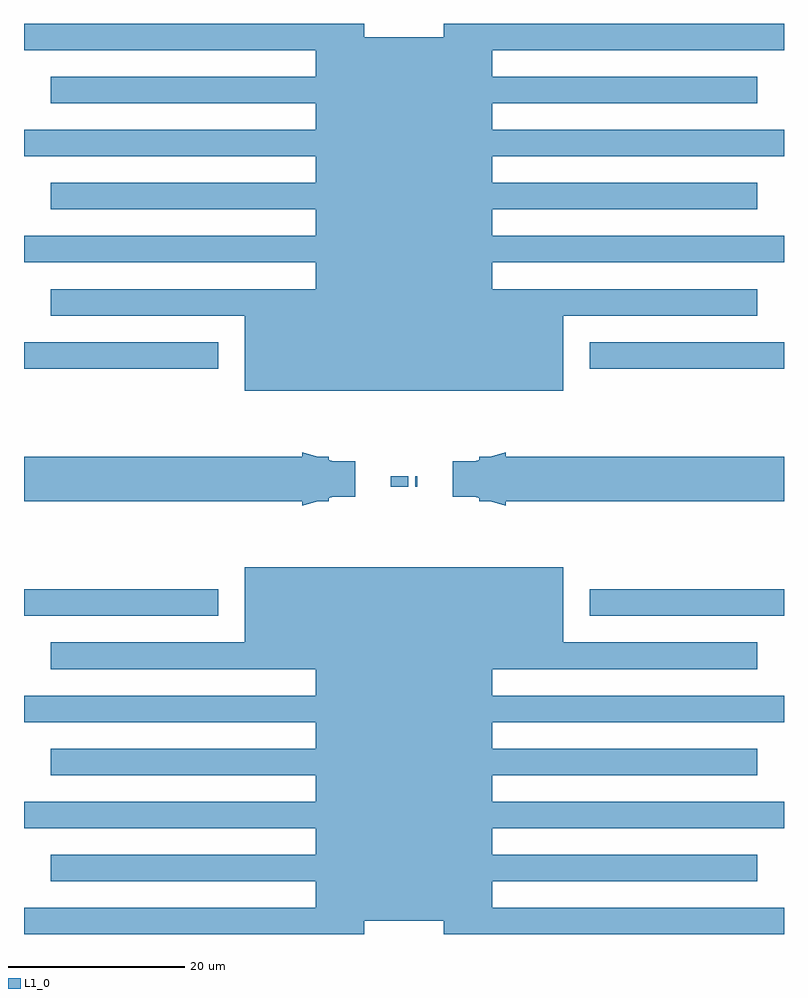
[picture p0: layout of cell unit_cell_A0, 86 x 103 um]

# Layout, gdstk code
from math import pi, radians
import gdstk
lib = gdstk.Library(unit=1e-6, precision=1e-09)
def R(c, l, rs):  # rectangles x0, y0, x1, y1
    for r in rs: c.add(gdstk.rectangle(r[:2], r[2:], *l))
def P(c, l, *ps):  # polygons
    for p in ps: c.add(gdstk.Polygon(p, *l))
L1_0 = (1, 0)

unnamed_98 = lib.new_cell('Unnamed_98')
P(unnamed_98, L1_0, [(38.5,0),(38.5,4.5),(0,4.5),(0,7.5),(38.5,7.5),(38.5,16.5),(0,16.5),(0,19.5),(38.5,19.5),(38.5,28.5),(0,28.5),(0,31.5),(22,31.5),(22,40),(50,40),(50,0)])

straight_l38p5_n2_csxs_e = lib.new_cell('straight_L38p5_N2_CSxs_e9659eb0')
R(straight_l38p5_n2_csxs_e, L1_0, [(0,-1.5,38.5,1.5)])

straight_array_n3_s9_l3_ = lib.new_cell('straight_array_N3_S9_L3_b91b2c6a')
straight_array_n3_s9_l3_.add(gdstk.Reference(straight_l38p5_n2_csxs_e, (0,0)))
straight_array_n3_s9_l3_.add(gdstk.Reference(straight_l38p5_n2_csxs_e, (0,12)))
straight_array_n3_s9_l3_.add(gdstk.Reference(straight_l38p5_n2_csxs_e, (0,24)))

straight_l22_n2_csxs_e96 = lib.new_cell('straight_L22_N2_CSxs_e9659eb0')
R(straight_l22_n2_csxs_e96, L1_0, [(0,-1.5,22,1.5)])

unnamed_94 = lib.new_cell('Unnamed_94')
unnamed_94.add(gdstk.Reference(straight_array_n3_s9_l3_, (-3,0)))
unnamed_94.add(gdstk.Reference(straight_l22_n2_csxs_e96, (-3,36)))

straight_l34p5_n2_csxs_3 = lib.new_cell('straight_L34p5_N2_CSxs_3e6774cf')
R(straight_l34p5_n2_csxs_3, L1_0, [(0,-2.5,34.5,2.5)])

triangle_x2_x3_y6_y2p5_l = lib.new_cell('triangle_X2_X3_Y6_Y2p5_L1_0')
P(triangle_x2_x3_y6_y2p5_l, L1_0, [(0,0),(0,6),(3,6),(2,2.5),(2,0)])

unnamed_96 = lib.new_cell('Unnamed_96')
unnamed_96.add(gdstk.Reference(straight_l34p5_n2_csxs_3, (-3,50)))
unnamed_96.add(gdstk.Reference(triangle_x2_x3_y6_y2p5_l, (34.5,50), rotation=3*pi/2, x_reflection=True))

unnamed_99 = lib.new_cell('Unnamed_99')
unnamed_99.add(gdstk.Reference(unnamed_98, (0,0)))
unnamed_99.add(gdstk.Reference(unnamed_94, (0,0)))
unnamed_99.add(gdstk.Reference(unnamed_96, (0,0)))

rectangle_s2_0p6_lwg_cf_ = lib.new_cell('rectangle_S2_0p6_LWG_CF_a6a46f17')
R(rectangle_s2_0p6_lwg_cf_, L1_0, [(0,0,2,0.6)])

rectangle_s0p2_1p2_lwg__ = lib.new_cell('rectangle_S0p2_1p2_LWG__107b6a9b')
R(rectangle_s0p2_1p2_lwg__, L1_0, [(0,0,0.2,1.2)])

unnamed_100 = lib.new_cell('Unnamed_100')
unnamed_100.add(gdstk.Reference(rectangle_s2_0p6_lwg_cf_, (0,0)))
unnamed_100.add(gdstk.Reference(rectangle_s0p2_1p2_lwg__, (2.8,-0.6)))

unit_cell_a0 = lib.new_cell('unit_cell_A0')
unit_cell_a0.add(gdstk.Reference(unnamed_99, (0,0)))
unit_cell_a0.add(gdstk.Reference(unnamed_99, (80,0), rotation=pi, x_reflection=True))
unit_cell_a0.add(gdstk.Reference(unnamed_99, (0,100), x_reflection=True))
unit_cell_a0.add(gdstk.Reference(unnamed_99, (80,100), rotation=pi))
unit_cell_a0.add(gdstk.Reference(unnamed_100, (38.5,49.7)))
unit_cell_a0.add(gdstk.Reference(unnamed_100, (38.5,49.7), x_reflection=True))

lib.write_gds('unit_cell_A0.gds')
